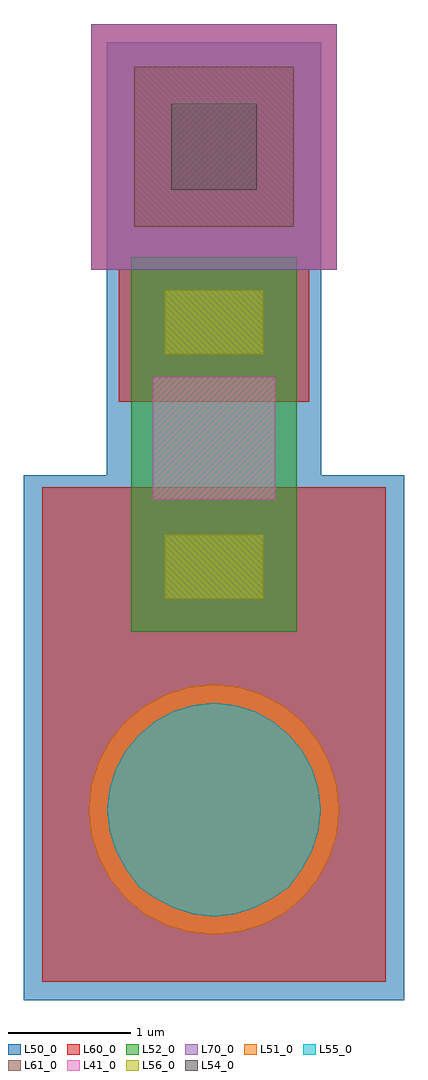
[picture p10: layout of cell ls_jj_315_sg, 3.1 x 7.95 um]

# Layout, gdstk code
import gdstk
lib = gdstk.Library(unit=1e-6, precision=1e-09)
def R(c, l, rs):  # rectangles x0, y0, x1, y1
    for r in rs: c.add(gdstk.rectangle(r[:2], r[2:], *l))
def P(c, l, *ps):  # polygons
    for p in ps: c.add(gdstk.Polygon(p, *l))
L41_0 = (41, 0)
L50_0 = (50, 0)
L51_0 = (51, 0)
L52_0 = (52, 0)
L54_0 = (54, 0)
L55_0 = (55, 0)
L56_0 = (56, 0)
L60_0 = (60, 0)
L61_0 = (61, 0)
L70_0 = (70, 0)

ls_conn_m5m6m7 = lib.new_cell('ls_conn_M5M6M7')
R(ls_conn_m5m6m7, L50_0, [(-0.5,-0.5,1.2,1.2)])
R(ls_conn_m5m6m7, L54_0, [(0,0,0.7,0.7)])
R(ls_conn_m5m6m7, L60_0, [(-0.65,-0.65,1.35,1.35)])
R(ls_conn_m5m6m7, L61_0, [(-0.3,-0.3,1,1)])
R(ls_conn_m5m6m7, L70_0, [(-0.65,-0.65,1.35,1.35)])

ls_jj_315_sg = lib.new_cell('ls_jj_315_sg')
R(ls_jj_315_sg, L41_0, [(-0.5,2.525,0.5,3.525)])
R(ls_jj_315_sg, L50_0, [(-1.55,-1.55,1.55,2.725), (-0.875,2.725,0.875,6.25)])
P(ls_jj_315_sg, L51_0, [(0,-1.02),(0.2,-1),(0.39,-0.94),(0.565,-0.85),(0.72,-0.72),(0.845,-0.565),(0.94,-0.39),(1,-0.2),(1.02,0),(1,0.2),(0.94,0.39),(0.845,0.565),(0.72,0.72),(0.565,0.845),(0.39,0.94),(0.2,1),(0,1.02),(-0.2,1),(-0.39,0.94),(-0.565,0.845),(-0.72,0.72),(-0.845,0.565),(-0.94,0.39),(-1,0.2),(-1.02,0),(-1,-0.2),(-0.94,-0.39),(-0.845,-0.565),(-0.72,-0.72),(-0.565,-0.85),(-0.39,-0.94),(-0.2,-1)])
R(ls_jj_315_sg, L52_0, [(-0.675,1.45,0.675,4.5)])
P(ls_jj_315_sg, L55_0, [(0,-0.87),(0.17,-0.85),(0.33,-0.8),(0.48,-0.72),(0.61,-0.63),(0.72,-0.48),(0.8,-0.33),(0.85,-0.17),(0.87,0),(0.85,0.17),(0.8,0.33),(0.72,0.48),(0.61,0.61),(0.48,0.72),(0.33,0.8),(0.17,0.85),(0,0.87),(-0.17,0.85),(-0.33,0.8),(-0.48,0.72),(-0.61,0.61),(-0.72,0.48),(-0.8,0.33),(-0.85,0.17),(-0.87,0),(-0.85,-0.17),(-0.8,-0.33),(-0.72,-0.48),(-0.61,-0.63),(-0.48,-0.72),(-0.33,-0.8),(-0.17,-0.85)])
R(ls_jj_315_sg, L56_0, [(-0.4,1.72,0.4,2.24), (-0.4,3.71,0.4,4.23)])
R(ls_jj_315_sg, L60_0, [(-1.4,-1.4,1.4,2.625), (-0.775,3.325,0.775,6.1)])
ls_jj_315_sg.add(gdstk.Reference(ls_conn_m5m6m7, (-0.35,5.05)))

lib.write_gds('ls_jj_315_sg.gds')
